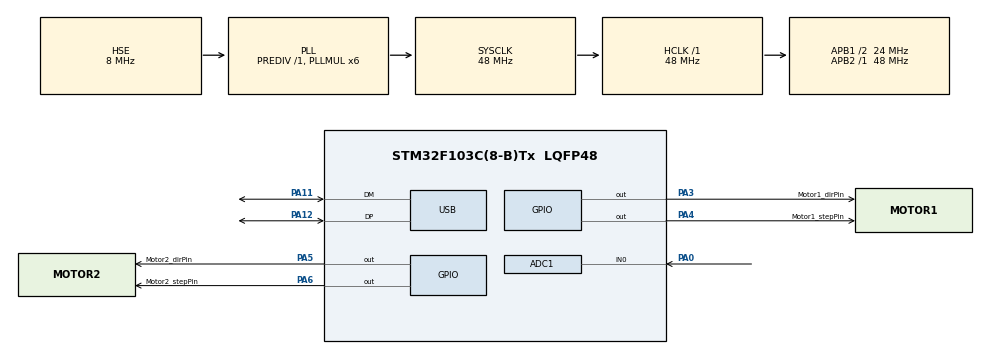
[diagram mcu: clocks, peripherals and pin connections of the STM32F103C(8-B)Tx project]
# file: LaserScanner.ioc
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ADC1.Channel-0\#ChannelRegularConversion=ADC_CHANNEL_0
ADC1.NbrOfConversionFlag=1
ADC1.Rank-0\#ChannelRegularConversion=1
ADC1.SamplingTime-0\#ChannelRegularConversion=ADC_SAMPLETIME_1CYCLE_5
ADC1.master=1
Mcu.Family=STM32F1
Mcu.Name=STM32F103C(8-B)Tx
Mcu.Package=LQFP48
NVIC.PriorityGroup=NVIC_PRIORITYGROUP_4
NVIC.USB_LP_CAN1_RX0_IRQn=true\:0\:0\:false\:false\:true\:false\:true\:true
PA0-WKUP.Signal=ADCx_IN0
PA11.Mode=Device
PA11.Signal=USB_DM
PA12.Mode=Device
PA12.Signal=USB_DP
PA13.Mode=Serial_Wire
PA13.Signal=SYS_JTMS-SWDIO
PA14.Mode=Serial_Wire
PA14.Signal=SYS_JTCK-SWCLK
PA3.GPIO_Label=Motor1_dirPin
PA3.Signal=GPIO_Output
PA4.GPIO_Label=Motor1_stepPin
PA4.Signal=GPIO_Output
PA5.GPIO_Label=Motor2_dirPin
PA5.Signal=GPIO_Output
PA6.GPIO_Label=Motor2_stepPin
PA6.Signal=GPIO_Output
PD0-OSC_IN.Mode=HSE-External-Oscillator
PD0-OSC_IN.Signal=RCC_OSC_IN
PD1-OSC_OUT.Mode=HSE-External-Oscillator
PD1-OSC_OUT.Signal=RCC_OSC_OUT
ProjectManager.HeapSize=0x200
ProjectManager.StackSize=0x400
ProjectManager.TargetToolchain=Makefile
RCC.ADCPresc=RCC_ADCPCLK2_DIV4
RCC.AHBFreq_Value=48000000
RCC.APB1CLKDivider=RCC_HCLK_DIV2
RCC.APB1Freq_Value=24000000
RCC.APB1TimFreq_Value=48000000
RCC.APB2Freq_Value=48000000
RCC.APB2TimFreq_Value=48000000
RCC.HCLKFreq_Value=48000000
RCC.PLLMUL=RCC_PLL_MUL6
RCC.SYSCLKFreq_VALUE=48000000
RCC.SYSCLKSource=RCC_SYSCLKSOURCE_PLLCLK
RCC.USBFreq_Value=48000000
SH.ADCx_IN0.0=ADC1_IN0,IN0
USB_DEVICE.CLASS_NAME_FS=CDC
USB_DEVICE.VirtualMode=Cdc
USB_DEVICE.VirtualModeFS=Cdc_FS
VP_USB_DEVICE_VS_USB_DEVICE_CDC_FS.Mode=CDC_FS
board=custom

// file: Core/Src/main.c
/* USER CODE BEGIN Header */
/**
  ******************************************************************************
  * @file           : main.c
  * @brief          : Main program body
  ******************************************************************************
  * @attention
  *
  * Copyright (c) 2022 STMicroelectronics.
  * All rights reserved.
  *
  * This software is licensed under terms that can be found in the LICENSE file
  * in the root directory of this software component.
  * If no LICENSE file comes with this software, it is provided AS-IS.
  *
  ******************************************************************************
  */
/* USER CODE END Header */
#include "main.h"
#include "usb_device.h"

/* USER CODE BEGIN Includes */
#include <math.h>

#include <srv_sens_api.h>
#include <srv_sens_swcpma.h>
#include <srv_sens_def.h>
#include <srv_MotorControl_main.h>
/* USER CODE END Includes */

/* USER CODE BEGIN PTD */
typedef struct poin_coord{
    float x;
    float y;
    float z;

    int x_dec;
    int y_dec;
    int z_dec;

    int x_int;
    int y_int;
    int z_int;
} poin_coord;
/* USER CODE END PTD */

ADC_HandleTypeDef hadc1;

void SystemClock_Config(void);
static void MX_GPIO_Init(void);
static void MX_ADC1_Init(void);

int main(void)
{
  /* USER CODE BEGIN 1 */
  uint8_t msg[50];
  poin_coord point;
  float alpha = 0;
  /* USER CODE END 1 */

  /* MCU Configuration--------------------------------------------------------*/

  /* Reset of all peripherals, Initializes the Flash interface and the Systick. */
  HAL_Init();

  /* Configure the system clock */
  SystemClock_Config();

  /* Initialize all configured peripherals */
  MX_GPIO_Init();
  MX_ADC1_Init();
  MX_USB_DEVICE_Init();
  /* USER CODE BEGIN 2 */
  srv_sens_init();
  set_adc(&hadc1);
  motorControl_init();
  sensor_data_t sens_readings;
  /* USER CODE END 2 */

  /* Infinite loop */
  while (1)
  {
    float angle_rad = 0;
    HAL_Delay(4000);
    CDC_Transmit_FS("Waiting a litlle bit to start\r\n",32);
    point.z = 0;
    for(int i = 0; i < 260; i++){
      for(int i = 0; i < 40; i++){
        srv_sens_main();
        sens_readings = get_sensor_data();
        point.x = (19.0-sens_readings.sensor_data)*sin(alpha);
        point.y = (19.0-sens_readings.sensor_data)*cos(alpha);

        point.x_int = (int)point.x;
        point.y_int = (int)point.y;
        point.z_int = (int)point.z;

        if(point.x<0){
          point.x_dec = -1*(int)((point.x - point.x_int)*1000);
        }
        else{
          point.x_dec = (int)((point.x - point.x_int)*1000);
        }
        if(point.y<0){
          point.y_dec = -1*(int)((point.y - point.y_int)*1000);
        }
        else{
          point.y_dec = (int)((point.y - point.y_int)*1000);
        }
        point.z_dec = (int)((point.z - point.z_int)*1000);

        sprintf(msg,"%d.%d, %d.%d, %d.%d\r\n",point.x_int,point.x_dec,point.y_int,point.y_dec,point.z_int,point.z_dec);
        //sprintf(msg,"%d.%d\r\n",sens_readings.sensor_decimal,sens_readings.sensor_unit);
        //sprintf(msg,"%d.%d\r\n",(int)alpha,(int)((alpha - (int)alpha)*1000));
        //sprintf(msg,"%d.%d\r\n",point.x_int,point.x_dec);
        //sprintf(msg,"%d.%d\r\n",sens_readings.sensor_decimal,sens_readings.sensor_unit);
        CDC_Transmit_FS(msg,strlen(msg));
        motorControl_spin4Steps();
        alpha = alpha + 0.157;
        HAL_Delay(10);
      }
      motorControlSens_spin4Steps();
      point.z = point.z + 0.2;

    }

    alpha = 0;
  }
}

void SystemClock_Config(void)
{
  RCC_OscInitTypeDef RCC_OscInitStruct = {0};
  RCC_ClkInitTypeDef RCC_ClkInitStruct = {0};
  RCC_PeriphCLKInitTypeDef PeriphClkInit = {0};

  /** Initializes the RCC Oscillators according to the specified parameters
  * in the RCC_OscInitTypeDef structure.
  */
  RCC_OscInitStruct.OscillatorType = RCC_OSCILLATORTYPE_HSE;
  RCC_OscInitStruct.HSEState = RCC_HSE_ON;
  RCC_OscInitStruct.HSEPredivValue = RCC_HSE_PREDIV_DIV1;
  RCC_OscInitStruct.HSIState = RCC_HSI_ON;
  RCC_OscInitStruct.PLL.PLLState = RCC_PLL_ON;
  RCC_OscInitStruct.PLL.PLLSource = RCC_PLLSOURCE_HSE;
  RCC_OscInitStruct.PLL.PLLMUL = RCC_PLL_MUL6;
  if (HAL_RCC_OscConfig(&RCC_OscInitStruct) != HAL_OK)
  {
    Error_Handler();
  }

  /** Initializes the CPU, AHB and APB buses clocks
  */
  RCC_ClkInitStruct.ClockType = RCC_CLOCKTYPE_HCLK|RCC_CLOCKTYPE_SYSCLK
                              |RCC_CLOCKTYPE_PCLK1|RCC_CLOCKTYPE_PCLK2;
  RCC_ClkInitStruct.SYSCLKSource = RCC_SYSCLKSOURCE_PLLCLK;
  RCC_ClkInitStruct.AHBCLKDivider = RCC_SYSCLK_DIV1;
  RCC_ClkInitStruct.APB1CLKDivider = RCC_HCLK_DIV2;
  RCC_ClkInitStruct.APB2CLKDivider = RCC_HCLK_DIV1;

  if (HAL_RCC_ClockConfig(&RCC_ClkInitStruct, FLASH_LATENCY_1) != HAL_OK)
  {
    Error_Handler();
  }
  PeriphClkInit.PeriphClockSelection = RCC_PERIPHCLK_ADC|RCC_PERIPHCLK_USB;
  PeriphClkInit.AdcClockSelection = RCC_ADCPCLK2_DIV4;
  PeriphClkInit.UsbClockSelection = RCC_USBCLKSOURCE_PLL;
  if (HAL_RCCEx_PeriphCLKConfig(&PeriphClkInit) != HAL_OK)
  {
    Error_Handler();
  }
}

static void MX_ADC1_Init(void)
{

  ADC_ChannelConfTypeDef sConfig = {0};

  /** Common config
  */
  hadc1.Instance = ADC1;
  hadc1.Init.ScanConvMode = ADC_SCAN_DISABLE;
  hadc1.Init.ContinuousConvMode = DISABLE;
  hadc1.Init.DiscontinuousConvMode = DISABLE;
  hadc1.Init.ExternalTrigConv = ADC_SOFTWARE_START;
  hadc1.Init.DataAlign = ADC_DATAALIGN_RIGHT;
  hadc1.Init.NbrOfConversion = 1;
  if (HAL_ADC_Init(&hadc1) != HAL_OK)
  {
    Error_Handler();
  }

  /** Configure Regular Channel
  */
  sConfig.Channel = ADC_CHANNEL_0;
  sConfig.Rank = ADC_REGULAR_RANK_1;
  sConfig.SamplingTime = ADC_SAMPLETIME_1CYCLE_5;
  if (HAL_ADC_ConfigChannel(&hadc1, &sConfig) != HAL_OK)
  {
    Error_Handler();
  }

}

static void MX_GPIO_Init(void)
{
  GPIO_InitTypeDef GPIO_InitStruct = {0};

  /* GPIO Ports Clock Enable */
  __HAL_RCC_GPIOD_CLK_ENABLE();
  __HAL_RCC_GPIOA_CLK_ENABLE();

  /*Configure GPIO pin Output Level */
  HAL_GPIO_WritePin(GPIOA, GPIO_PIN_3|GPIO_PIN_4|GPIO_PIN_5|GPIO_PIN_6, GPIO_PIN_RESET);

  /*Configure GPIO pins : PA3 PA4 PA5 PA6 */
  GPIO_InitStruct.Pin = GPIO_PIN_3|GPIO_PIN_4|GPIO_PIN_5|GPIO_PIN_6;
  GPIO_InitStruct.Mode = GPIO_MODE_OUTPUT_PP;
  GPIO_InitStruct.Pull = GPIO_NOPULL;
  GPIO_InitStruct.Speed = GPIO_SPEED_FREQ_LOW;
  HAL_GPIO_Init(GPIOA, &GPIO_InitStruct);

}

void Error_Handler(void)
{
  __disable_irq();
  while (1)
  {
  }
}
